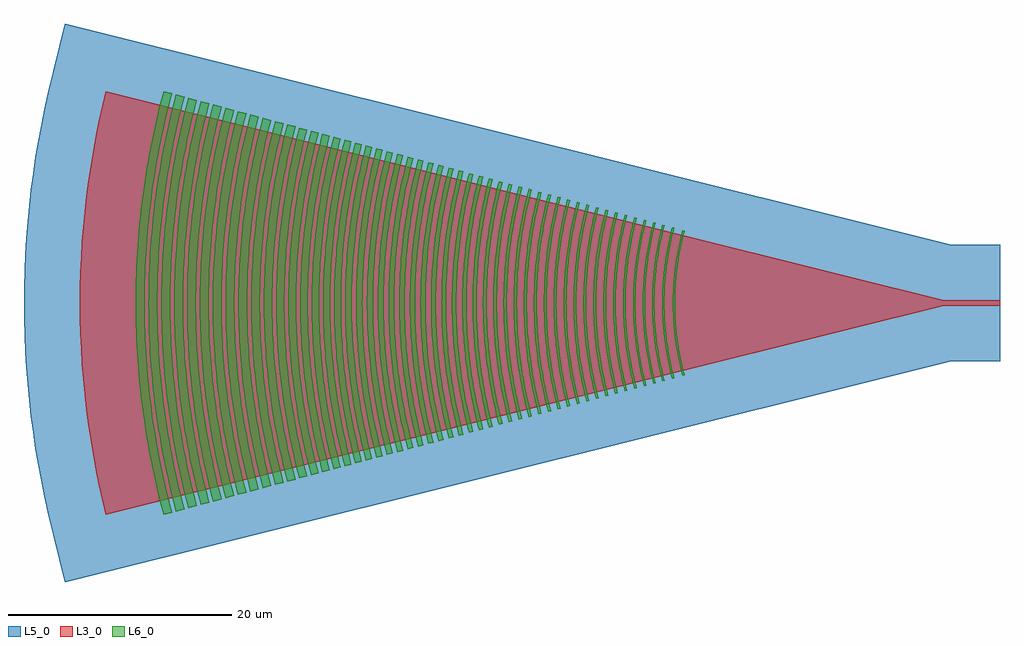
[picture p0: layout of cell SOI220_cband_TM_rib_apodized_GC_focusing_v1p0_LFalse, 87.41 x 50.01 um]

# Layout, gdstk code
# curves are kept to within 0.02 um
import gdstk
lib = gdstk.Library(unit=1e-6, precision=1e-09)
def P(c, l, *ps):  # polygons
    for p in ps: c.add(gdstk.Polygon(p, *l))
L3_0 = (3, 0)
L5_0 = (5, 0)
L6_0 = (6, 0)

soi220_cband_tm_rib_apod = lib.new_cell('SOI220_cband_TM_rib_apodized_GC_focusing_v1p0_LFalse')
P(soi220_cband_tm_rib_apod, L3_0, [(-80.088,-18.946),(-80.703,-16.283),(-80.975,-14.943),(-81.45,-12.251),(-81.83,-9.544),(-82.116,-6.826),(-82.307,-4.099),(-82.402,-1.367),(-82.414,0),(-82.402,1.367),(-82.307,4.099),(-82.116,6.826),(-81.83,9.544),(-81.45,12.251),(-80.975,14.943),(-80.703,16.283),(-80.088,18.946),(-5,0.225),(0,0.225),(0,-0.225),(-5,-0.225)])
P(soi220_cband_tm_rib_apod, L5_0, [(-83.73,-25.007),(-83.783,-24.975),(-85.279,-18.742),(-85.594,-17.322),(-86.148,-14.468),(-86.604,-11.594),(-86.958,-8.709),(-87.211,-5.812),(-87.363,-2.907),(-87.414,0),(-87.363,2.907),(-87.211,5.812),(-86.958,8.709),(-86.604,11.594),(-86.148,14.468),(-85.594,17.322),(-85.279,18.742),(-83.783,24.975),(-83.73,25.007),(-4.385,5.225),(0,5.225),(0,-5.225),(-4.386,-5.225)])
P(soi220_cband_tm_rib_apod, L6_0, [(-28.439,-6.522),(-28.835,-4.808),(-29.111,-3.071),(-29.251,-1.538),(-29.298,0),(-29.251,1.538),(-29.111,3.071),(-28.835,4.808),(-28.439,6.522),(-28.246,6.47),(-28.639,4.77),(-28.884,3.263),(-29.037,1.744),(-29.098,0),(-29.037,-1.744),(-28.884,-3.263),(-28.639,-4.77),(-28.246,-6.47)],
  [(-29.365,-6.768),(-29.774,-4.991),(-30.061,-3.187),(-30.207,-1.597),(-30.255,0),(-30.207,1.597),(-30.061,3.187),(-29.774,4.991),(-29.365,6.768),(-29.171,6.718),(-29.534,5.175),(-29.833,3.388),(-30.007,1.585),(-30.055,0),(-30.007,-1.585),(-29.833,-3.388),(-29.534,-5.175),(-29.171,-6.718)],
  [(-30.23,-7.001),(-30.655,-5.162),(-30.951,-3.297),(-31.102,-1.651),(-31.152,0),(-31.102,1.651),(-30.951,3.297),(-30.655,5.162),(-30.23,7.001),(-30.037,6.95),(-30.459,5.124),(-30.722,3.505),(-30.887,1.873),(-30.952,0),(-30.887,-1.873),(-30.722,-3.505),(-30.459,-5.124),(-30.037,-6.95)],
  [(-31.042,-7.219),(-31.48,-5.322),(-31.786,-3.399),(-31.941,-1.703),(-31.993,0),(-31.941,1.703),(-31.786,3.399),(-31.48,5.322),(-31.042,7.219),(-30.849,7.168),(-31.237,5.521),(-31.556,3.615),(-31.726,1.932),(-31.793,0),(-31.726,-1.932),(-31.556,-3.615),(-31.237,-5.521),(-30.849,-7.168)],
  [(-31.875,-7.442),(-32.278,-5.733),(-32.609,-3.753),(-32.802,-1.755),(-32.855,0),(-32.802,1.755),(-32.609,3.753),(-32.278,5.733),(-31.875,7.442),(-31.682,7.391),(-32.082,5.693),(-32.411,3.727),(-32.602,1.743),(-32.655,0),(-32.602,-1.743),(-32.411,-3.727),(-32.082,-5.693),(-31.682,-7.391)],
  [(-32.748,-7.675),(-33.163,-5.913),(-33.504,-3.871),(-33.703,-1.811),(-33.758,0),(-33.703,1.811),(-33.504,3.871),(-33.163,5.913),(-32.748,7.675),(-32.529,7.618),(-32.941,5.868),(-33.28,3.842),(-33.477,1.797),(-33.532,0),(-33.477,-1.797),(-33.28,-3.842),(-32.941,-5.868),(-32.529,-7.618)],
  [(-33.606,-7.905),(-34.085,-5.829),(-34.385,-3.987),(-34.589,-1.865),(-34.646,0),(-34.589,1.865),(-34.385,3.987),(-34.085,5.829),(-33.606,7.905),(-33.387,7.848),(-33.863,5.786),(-34.161,3.958),(-34.346,2.115),(-34.42,0),(-34.346,-2.115),(-34.161,-3.958),(-33.863,-5.786),(-33.387,-7.848)],
  [(-34.457,-8.134),(-34.951,-5.997),(-35.259,-4.103),(-35.47,-1.919),(-35.528,0),(-35.47,1.919),(-35.259,4.103),(-34.951,5.997),(-34.457,8.134),(-34.223,8.072),(-34.66,6.218),(-35.019,4.071),(-35.228,1.904),(-35.286,0),(-35.228,-1.904),(-35.019,-4.071),(-34.66,-6.218),(-34.223,-8.072)],
  [(-35.325,-8.367),(-35.833,-6.169),(-36.151,-4.22),(-36.367,-1.974),(-36.427,0),(-36.367,1.974),(-36.151,4.22),(-35.833,6.169),(-35.325,8.367),(-35.073,8.3),(-35.577,6.119),(-35.892,4.186),(-36.088,2.237),(-36.166,0),(-36.088,-2.237),(-35.892,-4.186),(-35.577,-6.119),(-35.073,-8.3)],
  [(-36.178,-8.595),(-36.458,-7.471),(-36.699,-6.337),(-37.025,-4.335),(-37.248,-2.028),(-37.309,0),(-37.248,2.028),(-37.025,4.335),(-36.699,6.337),(-36.458,7.471),(-36.178,8.595),(-35.943,8.533),(-36.404,6.573),(-36.614,5.441),(-36.784,4.303),(-37.005,2.013),(-37.066,0),(-37.005,-2.013),(-36.784,-4.303),(-36.614,-5.441),(-36.404,-6.573),(-35.943,-8.533)],
  [(-37.031,-8.823),(-37.318,-7.669),(-37.565,-6.506),(-37.9,-4.45),(-38.035,-3.267),(-38.129,-2.081),(-38.192,0),(-38.129,2.081),(-38.035,3.267),(-37.9,4.45),(-37.565,6.506),(-37.318,7.669),(-37.031,8.823),(-36.793,8.761),(-37.324,6.459),(-37.656,4.418),(-37.864,2.361),(-37.925,1.181),(-37.946,0),(-37.925,-1.181),(-37.864,-2.361),(-37.656,-4.418),(-37.324,-6.459),(-36.793,-8.761)],
  [(-37.881,-9.051),(-38.176,-7.868),(-38.43,-6.673),(-38.773,-4.565),(-38.911,-3.353),(-39.007,-2.135),(-39.072,0),(-39.007,2.135),(-38.911,3.353),(-38.773,4.565),(-38.43,6.673),(-38.176,7.868),(-37.881,9.051),(-37.643,8.988),(-38.129,6.924),(-38.35,5.732),(-38.529,4.533),(-38.666,3.329),(-38.761,2.12),(-38.826,0),(-38.761,-2.12),(-38.666,-3.329),(-38.529,-4.533),(-38.35,-5.732),(-38.129,-6.924),(-37.643,-8.988)],
  [(-38.748,-9.283),(-39.25,-7.152),(-39.478,-5.92),(-39.663,-4.682),(-39.805,-3.438),(-39.904,-2.19),(-39.97,0),(-39.904,2.19),(-39.805,3.438),(-39.663,4.682),(-39.478,5.92),(-39.25,7.152),(-38.748,9.283),(-38.512,9.221),(-39.011,7.103),(-39.237,5.88),(-39.421,4.65),(-39.562,3.415),(-39.66,2.175),(-39.726,0),(-39.66,-2.175),(-39.562,-3.415),(-39.421,-4.65),(-39.237,-5.88),(-39.011,-7.103),(-38.512,-9.221)],
  [(-39.598,-9.511),(-40.112,-7.328),(-40.346,-6.067),(-40.536,-4.797),(-40.681,-3.522),(-40.782,-2.244),(-40.85,0),(-40.782,2.244),(-40.681,3.522),(-40.536,4.797),(-40.346,6.067),(-40.112,7.328),(-39.598,9.511),(-39.362,9.449),(-39.873,7.279),(-40.105,6.026),(-40.294,4.765),(-40.438,3.499),(-40.538,2.229),(-40.606,0),(-40.538,-2.229),(-40.438,-3.499),(-40.294,-4.765),(-40.105,-6.026),(-39.873,-7.279),(-39.362,-9.449)],
  [(-40.465,-9.744),(-40.992,-7.506),(-41.231,-6.214),(-41.426,-4.914),(-41.575,-3.608),(-41.678,-2.298),(-41.748,0),(-41.678,2.298),(-41.575,3.608),(-41.426,4.914),(-41.231,6.214),(-40.992,7.506),(-40.465,9.744),(-40.212,9.677),(-40.528,8.41),(-40.799,7.134),(-41.166,4.88),(-41.395,2.608),(-41.463,1.305),(-41.486,0),(-41.463,-1.305),(-41.395,-2.608),(-41.166,-4.88),(-40.799,-7.134),(-40.528,-8.41),(-40.212,-9.677)],
  [(-41.336,-9.976),(-41.661,-8.673),(-41.941,-7.356),(-42.32,-5.032),(-42.472,-3.695),(-42.577,-2.354),(-42.649,0),(-42.577,2.354),(-42.472,3.695),(-42.32,5.032),(-41.941,7.356),(-41.661,8.673),(-41.336,9.976),(-41.068,9.906),(-41.604,7.631),(-41.847,6.317),(-42.045,4.996),(-42.196,3.668),(-42.301,2.337),(-42.372,0),(-42.301,-2.337),(-42.196,-3.668),(-42.045,-4.996),(-41.847,-6.317),(-41.604,-7.631),(-41.068,-9.906)],
  [(-42.213,-10.212),(-42.766,-7.867),(-43.017,-6.512),(-43.221,-5.15),(-43.462,-2.753),(-43.534,-1.377),(-43.558,0),(-43.534,1.377),(-43.462,2.753),(-43.221,5.15),(-43.017,6.512),(-42.766,7.867),(-42.213,10.212),(-41.93,10.137),(-42.479,7.809),(-42.728,6.464),(-42.93,5.112),(-43.17,2.732),(-43.241,1.367),(-43.265,0),(-43.241,-1.367),(-43.17,-2.732),(-42.93,-5.112),(-42.728,-6.464),(-42.479,-7.809),(-41.93,-10.137)],
  [(-43.097,-10.448),(-43.662,-8.049),(-43.919,-6.664),(-44.126,-5.269),(-44.373,-2.817),(-44.448,-1.409),(-44.472,0),(-44.448,1.409),(-44.373,2.817),(-44.126,5.269),(-43.919,6.664),(-43.662,8.049),(-43.097,10.448),(-42.796,10.369),(-43.357,7.987),(-43.612,6.612),(-43.818,5.229),(-43.977,3.84),(-44.086,2.446),(-44.161,0),(-44.086,-2.446),(-43.977,-3.84),(-43.818,-5.229),(-43.612,-6.612),(-43.357,-7.987),(-42.796,-10.369)],
  [(-43.982,-10.686),(-44.561,-8.232),(-44.823,-6.815),(-45.036,-5.39),(-45.199,-3.957),(-45.312,-2.521),(-45.389,0),(-45.312,2.521),(-45.199,3.957),(-45.036,5.39),(-44.823,6.815),(-44.561,8.232),(-43.982,10.686),(-43.667,10.603),(-44.241,8.167),(-44.501,6.761),(-44.713,5.347),(-44.874,3.926),(-44.987,2.501),(-45.063,0),(-44.987,-2.501),(-44.874,-3.926),(-44.713,-5.347),(-44.501,-6.761),(-44.241,-8.167),(-43.667,-10.603)],
  [(-44.871,-10.923),(-45.227,-9.495),(-45.534,-8.055),(-45.948,-5.51),(-46.206,-2.945),(-46.283,-1.473),(-46.309,0),(-46.283,1.473),(-46.206,2.945),(-45.948,5.51),(-45.534,8.055),(-45.227,9.495),(-44.871,10.923),(-44.539,10.836),(-44.893,9.418),(-45.197,7.989),(-45.608,5.465),(-45.773,4.013),(-45.888,2.556),(-45.966,0),(-45.888,-2.556),(-45.773,-4.013),(-45.608,-5.465),(-45.197,-7.989),(-44.893,-9.418),(-44.539,-10.836)],
  [(-45.762,-11.162),(-46.126,-9.703),(-46.365,-8.6),(-46.639,-7.119),(-46.862,-5.63),(-47.126,-3.009),(-47.205,-1.506),(-47.231,0),(-47.205,1.506),(-47.126,3.009),(-46.862,5.63),(-46.639,7.119),(-46.365,8.6),(-46.126,9.703),(-45.762,11.162),(-45.414,11.07),(-45.775,9.622),(-46.085,8.161),(-46.505,5.583),(-46.767,2.984),(-46.845,1.493),(-46.871,0),(-46.845,-1.493),(-46.767,-2.984),(-46.505,-5.583),(-46.085,-8.161),(-45.775,-9.622),(-45.414,-11.07)],
  [(-46.657,-11.401),(-47.027,-9.911),(-47.347,-8.407),(-47.553,-7.271),(-47.78,-5.751),(-47.916,-4.606),(-48.05,-3.074),(-48.13,-1.537),(-48.157,0),(-48.13,1.537),(-48.05,3.074),(-47.916,4.606),(-47.78,5.751),(-47.553,7.271),(-47.347,8.407),(-47.027,9.911),(-46.657,11.401),(-46.291,11.305),(-46.902,8.709),(-47.18,7.209),(-47.405,5.702),(-47.578,4.187),(-47.698,2.667),(-47.779,0),(-47.698,-2.667),(-47.578,-4.187),(-47.405,-5.702),(-47.18,-7.209),(-46.902,-8.709),(-46.291,-11.305)],
  [(-47.556,-11.643),(-47.935,-10.12),(-48.262,-8.585),(-48.704,-5.873),(-48.881,-4.312),(-49.004,-2.746),(-49.061,-1.57),(-49.088,0),(-49.061,1.57),(-49.004,2.746),(-48.881,4.312),(-48.704,5.873),(-48.262,8.585),(-47.935,10.12),(-47.556,11.643),(-47.172,11.542),(-47.548,10.031),(-47.872,8.509),(-48.31,5.821),(-48.486,4.274),(-48.608,2.722),(-48.676,1.167),(-48.691,0),(-48.676,-1.167),(-48.608,-2.722),(-48.486,-4.274),(-48.31,-5.821),(-47.872,-8.509),(-47.548,-10.031),(-47.172,-11.542)],
  [(-48.457,-11.885),(-48.753,-10.721),(-49.1,-9.156),(-49.392,-7.579),(-49.629,-5.994),(-49.771,-4.8),(-49.91,-3.204),(-49.994,-1.602),(-50.022,0),(-49.994,1.602),(-49.91,3.204),(-49.771,4.8),(-49.629,5.994),(-49.392,7.579),(-49.1,9.156),(-48.753,10.721),(-48.457,11.885),(-48.056,11.779),(-48.441,10.237),(-48.771,8.684),(-49.047,7.119),(-49.218,5.94),(-49.397,4.362),(-49.522,2.778),(-49.579,1.588),(-49.607,0),(-49.579,-1.588),(-49.522,-2.778),(-49.397,-4.362),(-49.218,-5.94),(-49.047,-7.119),(-48.771,-8.684),(-48.441,-10.237),(-48.056,-11.779)],
  [(-49.365,-12.127),(-49.76,-10.541),(-50.1,-8.942),(-50.384,-7.331),(-50.56,-6.117),(-50.705,-4.898),(-50.847,-3.269),(-50.933,-1.635),(-50.961,0),(-50.933,1.635),(-50.847,3.269),(-50.705,4.898),(-50.56,6.117),(-50.384,7.331),(-50.1,8.942),(-49.76,10.541),(-49.365,12.127),(-48.945,12.017),(-49.337,10.444),(-49.674,8.859),(-49.89,7.663),(-50.13,6.06),(-50.273,4.853),(-50.414,3.239),(-50.499,1.62),(-50.527,0),(-50.499,-1.62),(-50.414,-3.239),(-50.273,-4.853),(-50.13,-6.06),(-49.89,-7.663),(-49.674,-8.859),(-49.337,-10.444),(-48.945,-12.017)],
  [(-50.277,-12.372),(-50.68,-10.754),(-51.028,-9.123),(-51.251,-7.891),(-51.497,-6.24),(-51.645,-4.997),(-51.79,-3.335),(-51.877,-1.669),(-51.906,0),(-51.877,1.669),(-51.79,3.335),(-51.645,4.997),(-51.497,6.24),(-51.251,7.891),(-51.028,9.123),(-50.68,10.754),(-50.277,12.372),(-49.838,12.256),(-50.238,10.652),(-50.582,9.036),(-50.803,7.816),(-51.047,6.181),(-51.234,4.539),(-51.364,2.891),(-51.436,1.24),(-51.452,0),(-51.436,-1.24),(-51.364,-2.891),(-51.234,-4.539),(-51.047,-6.181),(-50.803,-7.816),(-50.582,-9.036),(-50.238,-10.652),(-49.838,-12.256)],
  [(-51.195,-12.617),(-51.508,-11.382),(-51.877,-9.72),(-52.186,-8.048),(-52.438,-6.364),(-52.631,-4.673),(-52.764,-2.977),(-52.826,-1.701),(-52.855,0),(-52.826,1.701),(-52.764,2.977),(-52.631,4.673),(-52.438,6.364),(-52.186,8.048),(-51.877,9.72),(-51.508,11.382),(-51.195,12.617),(-50.737,12.497),(-51.048,11.272),(-51.413,9.626),(-51.72,7.969),(-51.969,6.302),(-52.16,4.628),(-52.292,2.948),(-52.353,1.685),(-52.382,0),(-52.353,-1.685),(-52.292,-2.948),(-52.16,-4.628),(-51.969,-6.302),(-51.72,-7.969),(-51.413,-9.626),(-51.048,-11.272),(-50.737,-12.497)],
  [(-52.116,-12.864),(-52.535,-11.183),(-52.896,-9.485),(-53.197,-7.776),(-53.384,-6.488),(-53.58,-4.765),(-53.688,-3.467),(-53.779,-1.735),(-53.809,0),(-53.779,1.735),(-53.688,3.467),(-53.58,4.765),(-53.384,6.488),(-53.197,7.776),(-52.896,9.485),(-52.535,11.183),(-52.116,12.864),(-51.639,12.739),(-52.055,11.072),(-52.412,9.391),(-52.641,8.123),(-52.895,6.424),(-53.046,5.145),(-53.196,3.433),(-53.286,1.718),(-53.316,0),(-53.286,-1.718),(-53.196,-3.433),(-53.046,-5.145),(-52.895,-6.424),(-52.641,-8.123),(-52.412,-9.391),(-52.055,-11.072),(-51.639,-12.739)],
  [(-53.042,-13.112),(-53.368,-11.829),(-53.751,-10.102),(-54.073,-8.362),(-54.335,-6.614),(-54.535,-4.856),(-54.645,-3.535),(-54.737,-1.768),(-54.768,0),(-54.737,1.768),(-54.645,3.535),(-54.535,4.856),(-54.335,6.614),(-54.073,8.362),(-53.751,10.102),(-53.368,11.829),(-53.042,13.112),(-52.546,12.982),(-52.869,11.709),(-53.248,10),(-53.567,8.278),(-53.826,6.547),(-54.024,4.807),(-54.133,3.499),(-54.224,1.75),(-54.255,0),(-54.224,-1.75),(-54.133,-3.499),(-54.024,-4.807),(-53.826,-6.547),(-53.567,-8.278),(-53.248,-10),(-52.869,-11.709),(-52.546,-12.982)],
  [(-53.974,-13.361),(-54.305,-12.054),(-54.695,-10.295),(-55.024,-8.522),(-55.29,-6.739),(-55.495,-4.95),(-55.607,-3.603),(-55.701,-1.802),(-55.732,0),(-55.701,1.802),(-55.607,3.603),(-55.495,4.95),(-55.29,6.739),(-55.024,8.522),(-54.695,10.295),(-54.305,12.054),(-53.974,13.361),(-53.457,13.226),(-53.786,11.929),(-54.172,10.188),(-54.497,8.434),(-54.761,6.67),(-54.963,4.898),(-55.074,3.565),(-55.167,1.783),(-55.198,0),(-55.167,-1.783),(-55.074,-3.565),(-54.963,-4.898),(-54.761,-6.67),(-54.497,-8.434),(-54.172,-10.188),(-53.786,-11.929),(-53.457,-13.226)],
  [(-54.909,-13.611),(-55.352,-11.832),(-55.734,-10.036),(-56.052,-8.229),(-56.25,-6.867),(-56.412,-5.498),(-56.572,-3.669),(-56.668,-1.836),(-56.7,0),(-56.668,1.836),(-56.572,3.669),(-56.412,5.498),(-56.25,6.867),(-56.052,8.229),(-55.734,10.036),(-55.352,11.832),(-54.909,13.611),(-54.373,13.471),(-54.812,11.708),(-55.19,9.931),(-55.505,8.142),(-55.701,6.794),(-55.906,4.989),(-56.049,3.177),(-56.128,1.362),(-56.146,0),(-56.128,-1.362),(-56.049,-3.177),(-55.906,-4.989),(-55.701,-6.794),(-55.505,-8.142),(-55.19,-9.931),(-54.812,-11.708),(-54.373,-13.471)],
  [(-55.849,-13.864),(-56.194,-12.507),(-56.598,-10.682),(-56.939,-8.843),(-57.216,-6.993),(-57.381,-5.6),(-57.544,-3.737),(-57.642,-1.87),(-57.674,0),(-57.642,1.87),(-57.544,3.737),(-57.381,5.6),(-57.216,6.993),(-56.939,8.843),(-56.598,10.682),(-56.194,12.507),(-55.849,13.864),(-55.292,13.717),(-55.634,12.373),(-56.034,10.567),(-56.371,8.748),(-56.645,6.918),(-56.808,5.54),(-56.969,3.697),(-57.066,1.85),(-57.098,0),(-57.066,-1.85),(-56.969,-3.697),(-56.808,-5.54),(-56.645,-6.918),(-56.371,-8.748),(-56.034,-10.567),(-55.634,-12.373),(-55.292,-13.717)],
  [(-56.794,-14.117),(-57.255,-12.272),(-57.651,-10.41),(-57.982,-8.534),(-58.186,-7.121),(-58.402,-5.23),(-58.521,-3.805),(-58.62,-1.904),(-58.653,0),(-58.62,1.904),(-58.521,3.805),(-58.402,5.23),(-58.186,7.121),(-57.982,8.534),(-57.651,10.41),(-57.255,12.272),(-56.794,14.117),(-56.217,13.965),(-56.673,12.138),(-57.065,10.296),(-57.392,8.441),(-57.594,7.043),(-57.808,5.172),(-57.925,3.764),(-58.023,1.883),(-58.056,0),(-58.023,-1.883),(-57.925,-3.764),(-57.808,-5.172),(-57.594,-7.043),(-57.392,-8.441),(-57.065,-10.296),(-56.673,-12.138),(-56.217,-13.965)],
  [(-57.747,-14.372),(-58.214,-12.494),(-58.618,-10.597),(-58.877,-9.167),(-59.163,-7.25),(-59.382,-5.323),(-59.535,-3.391),(-59.605,-1.938),(-59.638,0),(-59.605,1.938),(-59.535,3.391),(-59.382,5.323),(-59.163,7.25),(-58.877,9.167),(-58.618,10.597),(-58.214,12.494),(-57.747,14.372),(-57.148,14.215),(-57.611,12.355),(-58.01,10.479),(-58.266,9.065),(-58.549,7.169),(-58.766,5.264),(-58.917,3.353),(-58.986,1.917),(-59.019,0),(-58.986,-1.917),(-58.917,-3.353),(-58.766,-5.264),(-58.549,-7.169),(-58.266,-9.065),(-58.01,-10.479),(-57.611,-12.355),(-57.148,-14.215)],
  [(-58.704,-14.628),(-59.181,-12.717),(-59.494,-11.27),(-59.854,-9.331),(-60.146,-7.378),(-60.369,-5.418),(-60.524,-3.451),(-60.595,-1.973),(-60.629,0),(-60.595,1.973),(-60.524,3.451),(-60.369,5.418),(-60.146,7.378),(-59.854,9.331),(-59.494,11.27),(-59.181,12.717),(-58.704,14.628),(-58.084,14.465),(-58.556,12.573),(-58.866,11.143),(-59.222,9.225),(-59.51,7.295),(-59.731,5.357),(-59.884,3.412),(-59.969,1.463),(-59.988,0),(-59.969,-1.463),(-59.884,-3.412),(-59.731,-5.357),(-59.51,-7.295),(-59.222,-9.225),(-58.866,-11.143),(-58.556,-12.573),(-58.084,-14.465)],
  [(-59.683,-14.891),(-60.168,-12.945),(-60.586,-10.98),(-60.935,-9.002),(-61.15,-7.511),(-61.378,-5.516),(-61.536,-3.514),(-61.624,-1.506),(-61.643,0),(-61.624,1.506),(-61.536,3.514),(-61.378,5.516),(-61.15,7.511),(-60.935,9.002),(-60.586,10.98),(-60.168,12.945),(-59.683,14.891),(-59.041,14.722),(-59.521,12.795),(-59.934,10.853),(-60.279,8.898),(-60.492,7.424),(-60.717,5.452),(-60.873,3.473),(-60.96,1.489),(-60.979,0),(-60.96,-1.489),(-60.873,-3.473),(-60.717,-5.452),(-60.492,-7.424),(-60.279,-8.898),(-59.934,-10.853),(-59.521,-12.795),(-59.041,-14.722)],
  [(-60.684,-15.16),(-61.061,-13.676),(-61.504,-11.679),(-61.877,-9.669),(-62.179,-7.646),(-62.41,-5.615),(-62.571,-3.576),(-62.645,-2.045),(-62.68,0),(-62.645,2.045),(-62.571,3.576),(-62.41,5.615),(-62.179,7.646),(-61.877,9.669),(-61.504,11.679),(-61.061,13.676),(-60.684,15.16),(-60.02,14.984),(-60.509,13.024),(-60.831,11.542),(-61.199,9.555),(-61.498,7.557),(-61.676,6.052),(-61.852,4.039),(-61.958,2.021),(-61.993,0),(-61.958,-2.021),(-61.852,-4.039),(-61.676,-6.052),(-61.498,-7.557),(-61.199,-9.555),(-60.831,-11.542),(-60.509,-13.024),(-60.02,-14.984)],
  [(-61.709,-15.434),(-62.212,-13.417),(-62.543,-11.89),(-62.922,-9.844),(-63.23,-7.785),(-63.466,-5.716),(-63.629,-3.641),(-63.72,-1.562),(-63.74,0),(-63.72,1.562),(-63.629,3.641),(-63.466,5.716),(-63.23,7.785),(-62.922,9.844),(-62.543,11.89),(-62.212,13.417),(-61.709,15.434),(-61.022,15.253),(-61.52,13.257),(-61.847,11.749),(-62.222,9.727),(-62.526,7.692),(-62.759,5.648),(-62.92,3.598),(-63.01,1.543),(-63.03,0),(-63.01,-1.543),(-62.92,-3.598),(-62.759,-5.648),(-62.526,-7.692),(-62.222,-9.727),(-61.847,-11.749),(-61.52,-13.257),(-61.022,-15.253)],
  [(-62.756,-15.714),(-63.267,-13.66),(-63.709,-11.587),(-63.991,-10.023),(-64.305,-7.927),(-64.545,-5.821),(-64.711,-3.707),(-64.787,-2.119),(-64.824,0),(-64.787,2.119),(-64.711,3.707),(-64.545,5.821),(-64.305,7.927),(-63.991,10.023),(-63.709,11.587),(-63.267,13.66),(-62.756,15.714),(-62.046,15.527),(-62.432,14.005),(-62.886,11.96),(-63.267,9.902),(-63.577,7.831),(-63.814,5.75),(-63.944,4.185),(-64.053,2.094),(-64.09,0),(-64.053,-2.094),(-63.944,-4.185),(-63.814,-5.75),(-63.577,-7.831),(-63.267,-9.902),(-62.886,-11.96),(-62.432,-14.005),(-62.046,-15.527)],
  [(-63.826,-16.001),(-64.348,-13.91),(-64.691,-12.329),(-65.084,-10.205),(-65.403,-8.071),(-65.647,-5.927),(-65.817,-3.775),(-65.895,-2.158),(-65.932,0),(-65.895,2.158),(-65.817,3.775),(-65.647,5.927),(-65.403,8.071),(-65.084,10.205),(-64.691,12.329),(-64.348,13.91),(-63.826,16.001),(-63.093,15.808),(-63.609,13.739),(-64.052,11.654),(-64.422,9.554),(-64.651,7.972),(-64.893,5.854),(-65.06,3.729),(-65.137,2.132),(-65.174,0),(-65.137,-2.132),(-65.06,-3.729),(-64.893,-5.854),(-64.651,-7.972),(-64.422,-9.554),(-64.052,-11.654),(-63.609,-13.739),(-63.093,-15.808)],
  [(-64.919,-16.293),(-65.45,-14.164),(-65.908,-12.014),(-66.2,-10.392),(-66.525,-8.219),(-66.719,-6.582),(-66.911,-4.393),(-67.026,-2.197),(-67.064,0),(-67.026,2.197),(-66.911,4.393),(-66.719,6.582),(-66.525,8.219),(-66.2,10.392),(-65.908,12.014),(-65.45,14.164),(-64.919,16.293),(-64.163,16.094),(-64.688,13.988),(-65.14,11.865),(-65.429,10.263),(-65.75,8.117),(-65.996,5.96),(-66.131,4.338),(-66.244,2.17),(-66.282,0),(-66.244,-2.17),(-66.131,-4.338),(-65.996,-5.96),(-65.75,-8.117),(-65.429,-10.263),(-65.14,-11.865),(-64.688,-13.988),(-64.163,-16.094)],
  [(-66.031,-16.59),(-66.443,-14.968),(-66.927,-12.783),(-67.335,-10.582),(-67.665,-8.368),(-67.919,-6.146),(-68.095,-3.914),(-68.192,-1.678),(-68.214,0),(-68.192,1.678),(-68.095,3.914),(-67.919,6.146),(-67.665,8.368),(-67.335,10.582),(-66.927,12.783),(-66.443,14.968),(-66.031,16.59),(-65.257,16.387),(-65.791,14.243),(-66.251,12.081),(-66.546,10.45),(-66.872,8.264),(-67.123,6.069),(-67.26,4.417),(-67.375,2.21),(-67.414,0),(-67.375,-2.21),(-67.26,-4.417),(-67.123,-6.069),(-66.872,-8.264),(-66.546,-10.45),(-66.251,-12.081),(-65.791,-14.243),(-65.257,-16.387)],
  [(-67.14,-16.89),(-67.692,-14.682),(-68.165,-12.454),(-68.469,-10.772),(-68.805,-8.519),(-69.063,-6.256),(-69.243,-3.985),(-69.325,-2.278),(-69.364,0),(-69.325,2.278),(-69.243,3.985),(-69.063,6.256),(-68.805,8.519),(-68.469,10.772),(-68.165,12.454),(-67.692,14.682),(-67.14,16.89),(-66.367,16.685),(-66.912,14.502),(-67.38,12.301),(-67.68,10.64),(-68.012,8.415),(-68.267,6.179),(-68.444,3.936),(-68.525,2.25),(-68.564,0),(-68.525,-2.25),(-68.444,-3.936),(-68.267,-6.179),(-68.012,-8.415),(-67.68,-10.64),(-67.38,-12.301),(-66.912,-14.502),(-66.367,-16.685)],
  [(-68.252,-17.187),(-68.679,-15.504),(-69.181,-13.241),(-69.603,-10.962),(-69.946,-8.67),(-70.208,-6.365),(-70.391,-4.055),(-70.492,-1.739),(-70.514,0),(-70.492,1.739),(-70.391,4.055),(-70.208,6.365),(-69.946,8.67),(-69.603,10.962),(-69.181,13.241),(-68.679,15.504),(-68.252,17.187),(-67.478,16.983),(-67.901,15.318),(-68.397,13.082),(-68.814,10.83),(-69.153,8.565),(-69.412,6.289),(-69.592,4.006),(-69.692,1.718),(-69.714,0),(-69.692,-1.718),(-69.592,-4.006),(-69.412,-6.289),(-69.153,-8.565),(-68.814,-10.83),(-68.397,-13.082),(-67.901,-15.318),(-67.478,-16.983)],
  [(-69.363,-17.483),(-69.933,-15.199),(-70.308,-13.47),(-70.737,-11.152),(-71.086,-8.819),(-71.353,-6.476),(-71.538,-4.125),(-71.641,-1.769),(-71.664,0),(-71.641,1.769),(-71.538,4.125),(-71.353,6.476),(-71.086,8.819),(-70.737,11.152),(-70.308,13.47),(-69.933,15.199),(-69.363,17.483),(-68.589,17.28),(-69.153,15.019),(-69.524,13.311),(-69.948,11.02),(-70.293,8.715),(-70.557,6.399),(-70.701,4.657),(-70.823,2.33),(-70.864,0),(-70.823,-2.33),(-70.701,-4.657),(-70.557,-6.399),(-70.293,-8.715),(-69.948,-11.02),(-69.524,-13.311),(-69.153,-15.019),(-68.589,-17.28)],
  [(-70.474,-17.782),(-70.915,-16.041),(-71.435,-13.699),(-71.872,-11.341),(-72.226,-8.97),(-72.438,-7.183),(-72.647,-4.793),(-72.773,-2.398),(-72.814,0),(-72.773,2.398),(-72.647,4.793),(-72.438,7.183),(-72.226,8.97),(-71.872,11.341),(-71.435,13.699),(-70.915,16.041),(-70.474,17.782),(-69.7,17.578),(-70.273,15.278),(-70.651,13.54),(-71.083,11.209),(-71.433,8.865),(-71.642,7.099),(-71.849,4.738),(-71.973,2.37),(-72.014,0),(-71.973,-2.37),(-71.849,-4.738),(-71.642,-7.099),(-71.433,-8.865),(-71.083,-11.209),(-70.651,-13.54),(-70.273,-15.278),(-69.7,-17.578)],
  [(-71.585,-18.079),(-72.174,-15.716),(-72.68,-13.331),(-73.006,-11.531),(-73.366,-9.119),(-73.582,-7.303),(-73.794,-4.874),(-73.922,-2.438),(-73.964,0),(-73.922,2.438),(-73.794,4.874),(-73.582,7.303),(-73.366,9.119),(-73.006,11.531),(-72.68,13.331),(-72.174,15.716),(-71.585,18.079),(-70.811,17.876),(-71.394,15.536),(-71.895,13.178),(-72.314,10.804),(-72.573,9.015),(-72.786,7.219),(-72.996,4.818),(-73.122,2.41),(-73.164,0),(-73.122,-2.41),(-72.996,-4.818),(-72.786,-7.219),(-72.573,-9.015),(-72.314,-10.804),(-71.895,-13.178),(-71.394,-15.536),(-70.811,-17.876)],
  [(-72.695,-18.377),(-73.293,-15.975),(-73.809,-13.551),(-74.24,-11.109),(-74.506,-9.269),(-74.787,-6.807),(-74.982,-4.336),(-75.09,-1.859),(-75.114,0),(-75.09,1.859),(-74.982,4.336),(-74.787,6.807),(-74.506,9.269),(-74.24,11.109),(-73.809,13.551),(-73.293,15.975),(-72.695,18.377),(-71.921,18.173),(-72.514,15.795),(-73.024,13.398),(-73.45,10.984),(-73.713,9.165),(-73.991,6.73),(-74.143,4.898),(-74.271,2.451),(-74.314,0),(-74.271,-2.451),(-74.143,-4.898),(-73.991,-6.73),(-73.713,-9.165),(-73.45,-10.984),(-73.024,-13.398),(-72.514,-15.795),(-71.921,-18.173)],
  [(-73.805,-18.675),(-74.415,-16.234),(-74.938,-13.77),(-75.274,-11.911),(-75.646,-9.42),(-75.931,-6.916),(-76.13,-4.406),(-76.221,-2.519),(-76.264,0),(-76.221,2.519),(-76.13,4.406),(-75.931,6.916),(-75.646,9.42),(-75.274,11.911),(-74.938,13.77),(-74.415,16.234),(-73.805,18.675),(-73.032,18.471),(-73.635,16.054),(-74.153,13.617),(-74.485,11.779),(-74.853,9.315),(-75.135,6.84),(-75.331,4.357),(-75.421,2.491),(-75.464,0),(-75.421,-2.491),(-75.331,-4.357),(-75.135,-6.84),(-74.853,-9.315),(-74.485,-11.779),(-74.153,-13.617),(-73.635,-16.054),(-73.032,-18.471)],
  [(-74.917,-18.973),(-75.534,-16.493),(-76.067,-13.99),(-76.511,-11.469),(-76.787,-9.569),(-77.076,-7.026),(-77.277,-4.476),(-77.37,-2.559),(-77.414,0),(-77.37,2.559),(-77.277,4.476),(-77.076,7.026),(-76.787,9.569),(-76.511,11.469),(-76.067,13.99),(-75.534,16.493),(-74.917,18.973),(-74.143,18.769),(-74.755,16.313),(-75.282,13.837),(-75.721,11.344),(-75.994,9.465),(-76.28,6.95),(-76.479,4.427),(-76.57,2.531),(-76.614,0),(-76.57,-2.531),(-76.479,-4.427),(-76.28,-6.95),(-75.994,-9.465),(-75.721,-11.344),(-75.282,-13.837),(-74.755,-16.313),(-74.143,-18.769)])

lib.write_gds('SOI220_cband_TM_rib_apodized_GC_focusing_v1p0_LFalse.gds')
